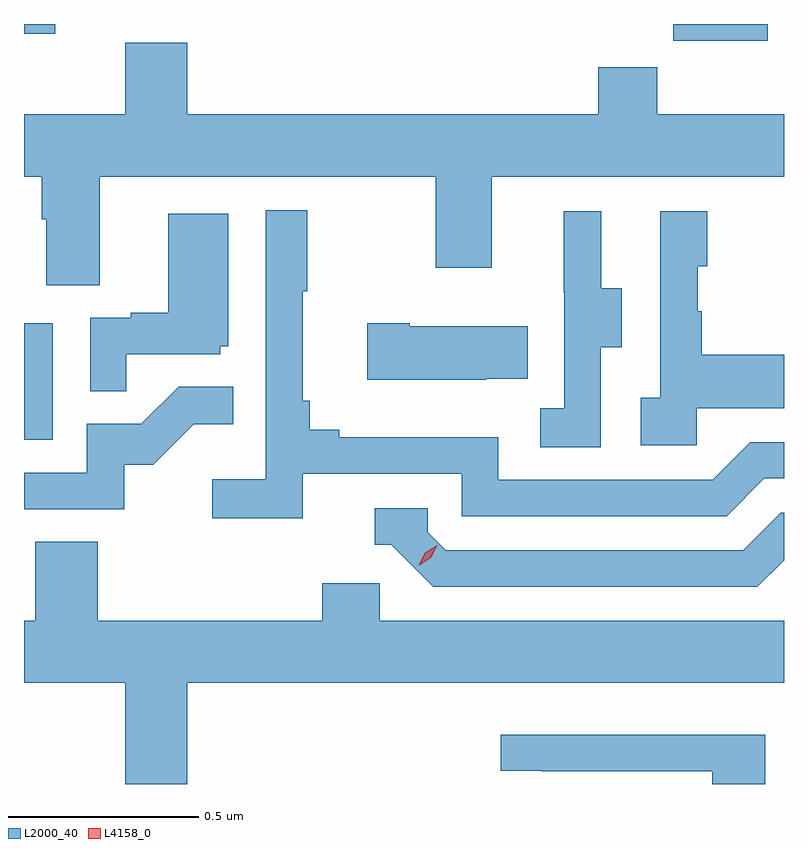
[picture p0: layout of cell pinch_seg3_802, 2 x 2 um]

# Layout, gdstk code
import gdstk
lib = gdstk.Library(unit=1e-6, precision=1e-09)
def R(c, l, rs):  # rectangles x0, y0, x1, y1
    for r in rs: c.add(gdstk.rectangle(r[:2], r[2:], *l))
def P(c, l, *ps):  # polygons
    for p in ps: c.add(gdstk.Polygon(p, *l))
L2000_40 = (2000, 40)
L4158_0 = (4158, 0)

pinch_seg3_802 = lib.new_cell('pinch_seg3_802')
R(pinch_seg3_802, L2000_40, [(824.082,712.212,824.158,712.519), (825.79,713.262,826.039,713.306), (824.082,713.28,824.164,713.306)])
P(pinch_seg3_802, L2000_40, [(824.281,712.904),(825.166,712.904),(825.166,712.665),(825.313,712.665),(825.313,712.904),(826.082,712.904),(826.082,713.068),(825.749,713.068),(825.749,713.192),(825.593,713.192),(825.593,713.068),(824.512,713.068),(824.512,713.257),(824.348,713.257),(824.348,713.068),(824.082,713.068),(824.082,712.904),(824.129,712.904),(824.129,712.792),(824.141,712.792),(824.141,712.618),(824.281,712.618)],
  [(824.816,712.122),(825.234,712.122),(825.234,712.011),(825.931,712.011),(826.03,712.11),(826.082,712.11),(826.082,712.206),(825.993,712.206),(825.894,712.107),(825.33,712.107),(825.33,712.219),(824.911,712.219),(824.911,712.238),(824.834,712.238),(824.834,712.315),(824.815,712.315),(824.815,712.603),(824.827,712.603),(824.827,712.816),(824.718,712.816),(824.718,712.108),(824.577,712.108),(824.577,712.006),(824.816,712.006)],
  [(825.852,712.295),(826.082,712.295),(826.082,712.435),(825.865,712.435),(825.865,712.55),(825.855,712.55),(825.855,712.668),(825.88,712.668),(825.88,712.813),(825.756,712.813),(825.756,712.322),(825.705,712.322),(825.705,712.197),(825.852,712.197)],
  [(825.6,712.456),(825.655,712.456),(825.655,712.611),(825.601,712.611),(825.601,712.813),(825.503,712.813),(825.503,712.599),(825.504,712.599),(825.504,712.295),(825.441,712.295),(825.441,712.192),(825.6,712.192)],
  [(824.351,712.437),(824.598,712.437),(824.598,712.458),(824.62,712.458),(824.62,712.807),(824.462,712.807),(824.462,712.546),(824.363,712.546),(824.363,712.533),(824.256,712.533),(824.256,712.339),(824.351,712.339)],
  [(825.299,712.373),(825.407,712.373),(825.407,712.51),(825.097,712.51),(825.097,712.518),(824.985,712.518),(824.985,712.37),(825.299,712.37)],
  [(824.346,712.146),(824.422,712.146),(824.529,712.253),(824.633,712.253),(824.633,712.352),(824.489,712.352),(824.391,712.254),(824.247,712.254),(824.247,712.125),(824.082,712.125),(824.082,712.029),(824.346,712.029)],
  [(826.082,711.895),(826.082,712.02),(826.074,712.02),(825.975,711.921),(825.192,711.921),(825.144,711.969),(825.144,712.032),(825.005,712.032),(825.005,711.936),(825.048,711.936),(825.159,711.825),(826.012,711.825)],
  [(824.512,711.572),(826.082,711.572),(826.082,711.736),(825.018,711.736),(825.018,711.834),(824.867,711.834),(824.867,711.736),(824.276,711.736),(824.276,711.944),(824.111,711.944),(824.111,711.736),(824.082,711.736),(824.082,711.572),(824.348,711.572),(824.348,711.306),(824.512,711.306)],
  [(826.033,711.436),(825.336,711.436),(825.336,711.341),(825.445,711.341),(825.445,711.339),(825.893,711.339),(825.893,711.306),(826.033,711.306)])
P(pinch_seg3_802, L4158_0, [(825.121,711.882),(825.121,711.882),(825.138,711.915),(825.169,711.934),(825.169,711.934),(825.169,711.934),(825.153,711.901),(825.122,711.882)])

lib.write_gds('pinch_seg3_802.gds')
